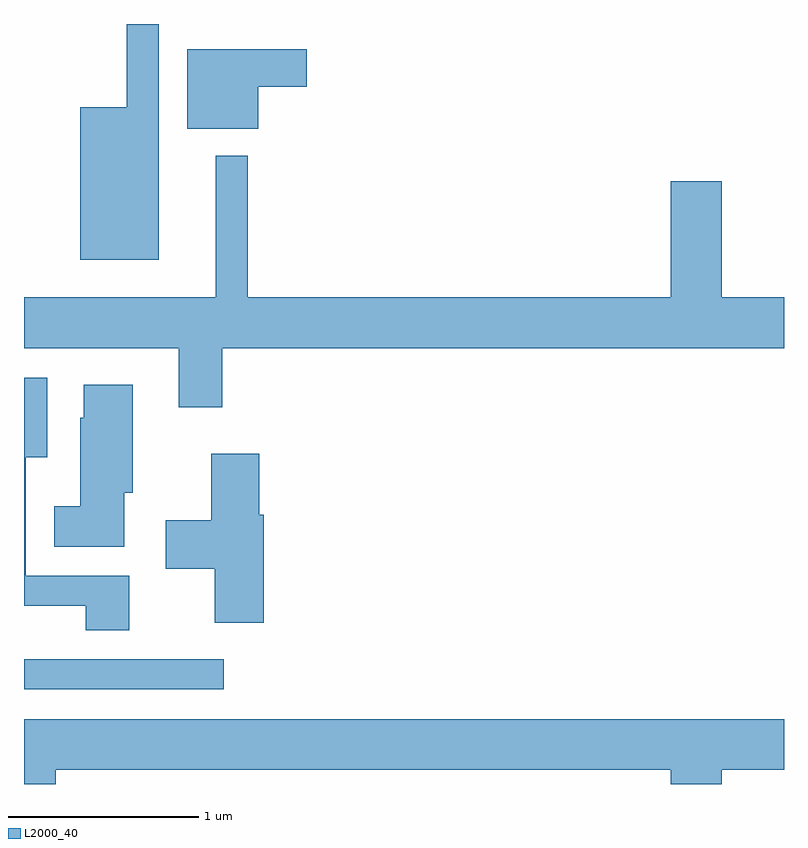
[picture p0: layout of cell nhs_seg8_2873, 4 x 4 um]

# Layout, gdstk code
import gdstk
lib = gdstk.Library(unit=1e-6, precision=1e-09)
def R(c, l, rs):  # rectangles x0, y0, x1, y1
    for r in rs: c.add(gdstk.rectangle(r[:2], r[2:], *l))
def P(c, l, *ps):  # polygons
    for p in ps: c.add(gdstk.Polygon(p, *l))
L2000_40 = (2000, 40)

nhs_seg8_2873 = lib.new_cell('nhs_seg8_2873')
R(nhs_seg8_2873, L2000_40, [(271.611,1836.841,272.663,1836.999)])
P(nhs_seg8_2873, L2000_40, [(272.319,1840.342),(272.151,1840.342),(272.151,1839.904),(271.906,1839.904),(271.906,1839.101),(272.319,1839.101)],
  [(272.844,1840.011),(273.099,1840.011),(273.099,1840.209),(272.471,1840.209),(272.471,1839.791),(272.844,1839.791)],
  [(272.654,1838.636),(275.611,1838.636),(275.611,1838.904),(275.284,1838.904),(275.284,1839.514),(275.016,1839.514),(275.016,1838.904),(272.789,1838.904),(272.789,1839.648),(272.621,1839.648),(272.621,1838.904),(271.611,1838.904),(271.611,1838.636),(272.426,1838.636),(272.426,1838.326),(272.654,1838.326)],
  [(272.164,1837.439),(271.619,1837.439),(271.619,1838.061),(271.734,1838.061),(271.734,1838.479),(271.611,1838.479),(271.611,1837.281),(271.936,1837.281),(271.936,1837.151),(272.164,1837.151)],
  [(272.139,1837.876),(272.184,1837.876),(272.184,1838.444),(271.926,1838.444),(271.926,1838.269),(271.906,1838.269),(271.906,1837.804),(271.771,1837.804),(271.771,1837.591),(272.139,1837.591)],
  [(272.874,1837.759),(272.849,1837.759),(272.849,1838.079),(272.596,1838.079),(272.596,1837.729),(272.356,1837.729),(272.356,1837.476),(272.616,1837.476),(272.616,1837.191),(272.874,1837.191)],
  [(271.779,1836.416),(275.016,1836.416),(275.016,1836.342),(275.284,1836.342),(275.284,1836.416),(275.611,1836.416),(275.611,1836.684),(271.611,1836.684),(271.611,1836.342),(271.779,1836.342)])

lib.write_gds('nhs_seg8_2873.gds')
